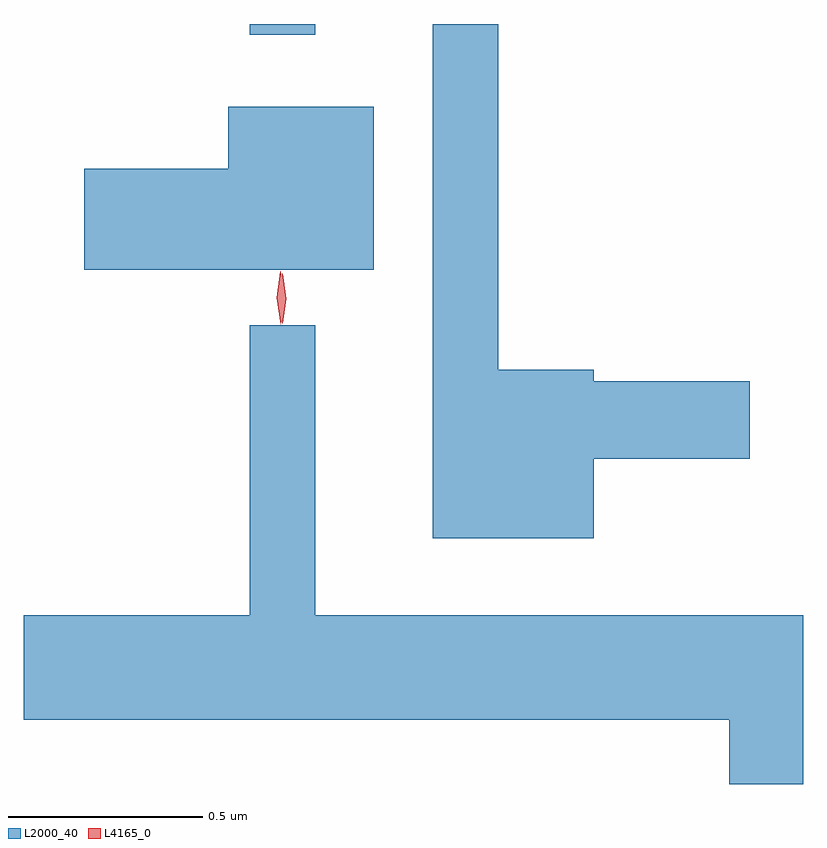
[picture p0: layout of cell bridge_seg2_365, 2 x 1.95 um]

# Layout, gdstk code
import gdstk
lib = gdstk.Library(unit=1e-6, precision=1e-09)
def R(c, l, rs):  # rectangles x0, y0, x1, y1
    for r in rs: c.add(gdstk.rectangle(r[:2], r[2:], *l))
def P(c, l, *ps):  # polygons
    for p in ps: c.add(gdstk.Polygon(p, *l))
L2000_40 = (2000, 40)
L4165_0 = (4165, 0)

bridge_seg2_365 = lib.new_cell('bridge_seg2_365')
R(bridge_seg2_365, L2000_40, [(304.521,1014.553,304.689,1014.581)])
P(bridge_seg2_365, L2000_40, [(305.404,1013.466),(305.804,1013.466),(305.804,1013.664),(305.404,1013.664),(305.404,1013.694),(305.159,1013.694),(305.159,1014.581),(304.991,1014.581),(304.991,1013.261),(305.404,1013.261)],
  [(304.839,1014.369),(304.466,1014.369),(304.466,1014.209),(304.096,1014.209),(304.096,1013.951),(304.839,1013.951)],
  [(305.941,1013.064),(304.689,1013.064),(304.689,1013.808),(304.521,1013.808),(304.521,1013.064),(303.941,1013.064),(303.941,1012.796),(305.751,1012.796),(305.751,1012.631),(305.941,1012.631)])
P(bridge_seg2_365, L4165_0, [(304.604,1013.813),(304.595,1013.876),(304.604,1013.94),(304.605,1013.94),(304.606,1013.94),(304.615,1013.876),(304.606,1013.813),(304.605,1013.813)],
  [(304.6,1013.81),(304.6,1013.81),(304.59,1013.878),(304.599,1013.945),(304.6,1013.946),(304.6,1013.945),(304.61,1013.878),(304.601,1013.81)])

lib.write_gds('bridge_seg2_365.gds')
